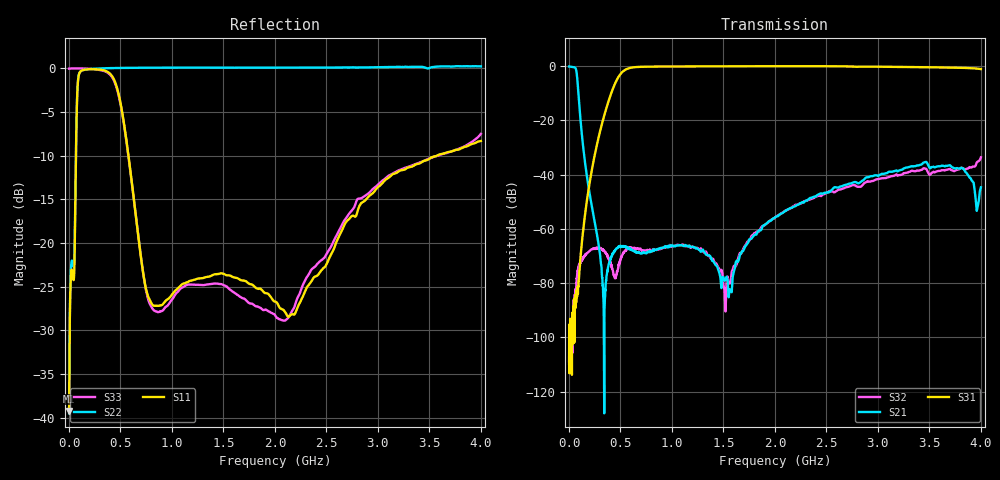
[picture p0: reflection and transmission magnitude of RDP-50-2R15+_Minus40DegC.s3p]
! Mini-Circuits
! S3P DATA File Format
! Type: Diplexer
! Model: RDP-50-2R15+
! PINOUT: Com=PORT1 , LP=PORT2 , HP=PORT3
! TEST CONDITIONS: INPUT POWER = 0 dBm @ Temperature = -40 deg C
! All S Parameters are in dB deg format
# MHz S dB R 50
!Frequency  S11 dB  S11 DEG  S12 dB  S12 DEG  S13 dB  S13 DEG
!  S21 dB  S21 DEG  S22 dB  S22 DEG  S23 dB  S23 DEG
!  S31 dB  S31 DEG  S32 dB  S32 DEG  S33 dB  S33 DEG
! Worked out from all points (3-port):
!   733 points, 1 MHz to 4 GHz, reference 50 ohm
!   strongest paths, dB at 1 MHz, 262 MHz, 670 MHz, 2.17 GHz, 4 GHz:
!     S31: -109.6, -30.5, -0.3, 0.0, -1.1
!     S21: -0.1, -60.1, -68.8, -52.1, -44.7
!     S32: -108.8, -67.2, -67.2, -51.8, -33.6
!   lowest |S11| = -39.2 dB at 1 MHz (marker M1), VSWR 1.02, Z = 51 + j0.518 ohm
!   |S11| at or under -10 dB: start of sweep to 67.17 MHz; 577.2 MHz to 3.575 GHz (2.998 GHz wide, 144 % of centre)
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1  -39.23 27.7  -0.14 -2.9  -98.16 -101.0
   -0.14 -2.9  -39.51 26.7  -101.61 -57.3
   -109.61 164.2  -108.82 7.7  -0.05 -0.3
57  -19.33 -86.8  -0.49 -175.6  -89.91 -165.9
    -0.49 -175.6  -18.61 -92.9  -87.56 -173.8
    -87.03 164.0  -86.87 -171.4  -0.03 -19.8
100  -0.60 79.2  -14.40 18.6  -76.04 97.9
     -14.39 18.6  -0.58 131.4  -72.93 131.6
     -76.49 105.9  -73.26 132.3  -0.03 -34.5
175  -0.14 -6.1  -40.92 -58.8  -49.22 53.1
     -40.89 -58.7  -0.14 63.3  -68.75 87.5
     -49.24 53.2  -68.92 87.7  -0.05 -60.8
332  -0.23 -95.8  -86.23 -144.8  -19.54 -27.1
     -84.95 -128.0  -0.02 27.0  -68.00 37.1
     -19.55 -27.0  -67.74 37.0  -0.29 -131.9
492  -3.49 171.5  -66.38 -5.9  -3.30 -128.5
     -66.43 -6.0  0.02 13.0  -71.80 97.7
     -3.30 -128.5  -72.24 97.6  -3.65 117.0
860  -27.21 175.3  -67.35 179.2  -0.12 90.6
     -67.38 -178.3  0.06 -5.8  -67.72 83.4
     -0.14 90.7  -67.43 81.3  -27.92 -169.9
1560  -23.74 170.3  -84.05 -73.3  -0.03 7.3
      -82.19 -96.6  0.06 -27.2  -80.51 -167.6
      -0.05 7.5  -80.13 -170.8  -25.32 31.6
2010  -26.76 118.7  -55.58 -111.2  0.00 -24.5
      -55.49 -110.2  0.06 -39.5  -55.63 -137.1
      -0.01 -24.4  -55.56 -137.7  -28.45 34.5
4000  -8.33 -111.1  -44.66 7.5  -1.05 -133.7
      -44.65 7.7  0.21 -83.4  -33.60 -126.0
      -1.08 -133.5  -33.60 -126.1  -7.53 14.7
